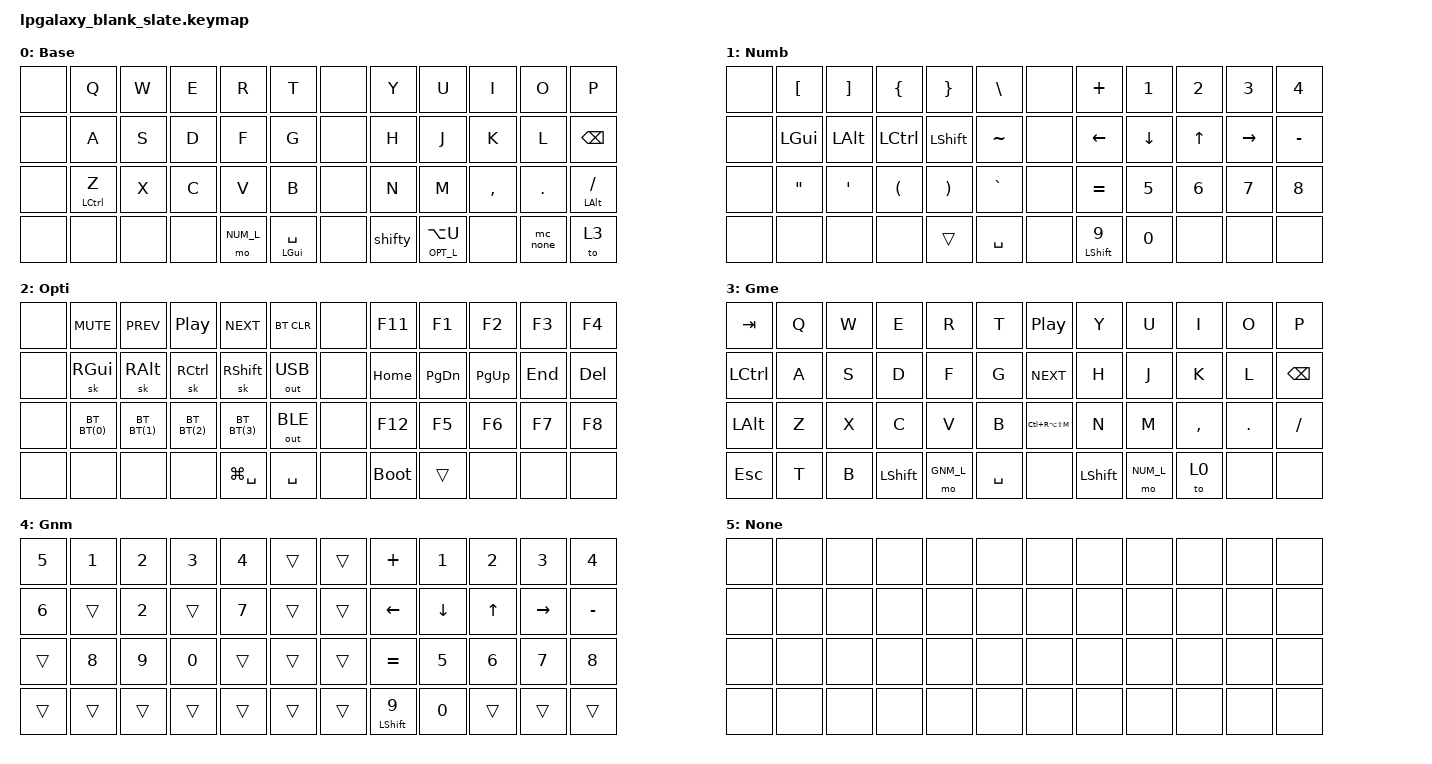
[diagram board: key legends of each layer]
/*
 * Copyright (c) 2023 Marcel Keßler
 *
 * SPDX-License-Identifier: MIT
 */

#include <behaviors.dtsi>
#include <dt-bindings/zmk/keys.h>
#include <dt-bindings/zmk/bt.h>
#include <dt-bindings/zmk/backlight.h>
#include <dt-bindings/zmk/outputs.h>
#include "mouse.dtsi"

#define QWERTY_BASE 1
#define TBLE_ORTHO 1

#define NUM_L 1
#define OPT_L 2
#define GME_L 3
#define GNM_L 4

&lt { quick_tap_ms = <100>; tapping-term-ms = <150>; };

&caps_word {
    continue-list = <UNDERSCORE MINUS SPACE>;
};

#define BT(n) BT_SEL n

/ {
    chosen {
        zmk,matrix_transform = &ortho_transform;
    };

    behaviors {
        ltp: layer_tap_preferred {
            compatible = "zmk,behavior-hold-tap";
            label = "LAYER_TAP_PREFERRED";
            #binding-cells = <2>;
            tapping-term-ms = <200>;
            quick-tap-ms = <0>;
            flavor = "tap-preferred";
            bindings = <&mo>, <&kp>;
        };
        mtp: mod_tap_preferred {
            compatible = "zmk,behavior-hold-tap";
            label = "MOD_TAP_PREFERRED";
            #binding-cells = <2>;
            tapping-term-ms = <200>;
            quick-tap-ms = <0>;
            flavor = "tap-preferred";
            bindings = <&kp>, <&kp>;
        };
        bht: balanced_hold_tap {
            compatible = "zmk,behavior-hold-tap";
            label = "BALANCED_HOLD_TAP";
            #binding-cells = <2>;
            tapping-term-ms = <150>;
            quick-tap-ms = <0>;
            bindings = <&mo>, <&kp>;
        };
    };

    macros {
        mc_alfred: mc_alfred {
            label = "mc_alfred";
            compatible = "zmk,behavior-macro";
            #binding-cells = <0>;
            bindings
                = <&macro_press &kp LGUI>
                , <&macro_tap &kp SPACE>
                , <&macro_release &kp LGUI>
            ;
        };
        mc_pass: mc_pass {
            label = "mc_pass";
            compatible = "zmk,behavior-macro";
            #binding-cells = <0>;
            bindings
                = <&macro_press &kp LGUI>
                , <&macro_press &kp LSHIFT>
                , <&macro_tap &kp SPACE>
                , <&macro_release &kp LGUI>
                , <&macro_release &kp LSHIFT>
            ;
        };
        mc_emoji: mc_emoji {
            label = "mc_emoji";
            compatible = "zmk,behavior-macro";
            #binding-cells = <0>;
            bindings
                = <&macro_press &kp LGUI>
                , <&macro_press &kp LCTRL>
                , <&macro_tap &kp SPACE>
                , <&macro_release &kp LGUI>
                , <&macro_release &kp LCTRL>
            ;
        };
        mc_quote: mc_quote {
            label = "mc_quote";
            compatible = "zmk,behavior-macro";
            #binding-cells = <0>;
            bindings
                = <&macro_tap &kp QUOT>
                , <&macro_tap &kp SPACE>
            ;
        };
        mc_dqt: mc_dqt {
            label = "mc_dqt";
            compatible = "zmk,behavior-macro";
            #binding-cells = <0>;
            bindings
                = <&macro_press &kp LSHIFT>
                , <&macro_tap &kp QUOT>
                , <&macro_release &kp LSHIFT>
                , <&macro_tap &kp SPACE>
            ;
        };
        mc_grave: mc_grave {
            label = "mc_grave";
            compatible = "zmk,behavior-macro";
            #binding-cells = <0>;
            bindings
                = <&macro_tap &kp GRAVE>
                , <&macro_tap &kp SPACE>
            ;
        };
        mc_tilde: mc_tilde {
            label = "mc_tilde";
            compatible = "zmk,behavior-macro";
            #binding-cells = <0>;
            bindings
                = <&macro_press &kp LSHIFT>
                , <&macro_tap &kp GRAVE>
                , <&macro_release &kp LSHIFT>
                , <&macro_tap &kp SPACE>
            ;
        };
        mc_ss: mc_ss {
            label = "mc_ss";
            compatible = "zmk,behavior-macro";
            #binding-cells = <0>;
            bindings
                = <&macro_press &kp RALT>
                , <&macro_tap &kp S>
                , <&macro_release &kp RALT>
            ;
        };
        mc_none: mc_none {
            label = "mc_none";
            compatible = "zmk,behavior-macro";
            #binding-cells = <0>;
            bindings
                = <&to 5>
                , <&bl BL_OFF>
            ;
        };
        mc_base: mc_base {
            label = "mc_base";
            compatible = "zmk,behavior-macro";
            #binding-cells = <0>;
            bindings
                = <&to 0>
                , <&bl BL_ON>
            ;
        };
    };

    combos {
           compatible = "zmk,combos";
           combo_esc {
                timeout-ms = <35>;
                key-positions = <15 16>;
                bindings = <&kp ESC>;
                layers = <0 1 2>;
           };
           combo_ret {
                timeout-ms = <35>;
                key-positions = <20 21>;
                bindings = <&kp RET>;
                layers = <0 1 2 3 4>;
           };
           combo_alfred {
                timeout-ms = <35>;
                key-positions = <13 39>;
                bindings = <&mc_alfred>;
                layers = <0>;
           };
           combo_pass {
                timeout-ms = <35>;
                key-positions = <13 16>;
                bindings = <&mc_pass>;
                layers = <0>;
           };
           combo_emoji {
                timeout-ms = <35>;
                key-positions = <13 15>;
                bindings = <&mc_emoji>;
                layers = <0>;
           };
           combo_base {
                timeout-ms = <35>;
                key-positions = <0 11>;
                bindings = <&mc_base>;
                layers = <6>;
                require-prior-idle-ms = <300>;
            };
            combo_tab {
                timeout-ms = <35>;
                key-positions = <27 28>;
                bindings = <&kp TAB>;
                layers = <0>;
            };
            combo_shift_tab {
                timeout-ms = <35>;
                key-positions = <26 27>;
                bindings = <&kp LA(TAB)>;
                layers = <0>;
            };
            combo_colon {
                timeout-ms = <35>;
                key-positions = <32 33>;
                bindings = <&kp COLON>;
                layers = <0 1 2>;
            };
            combo_semi {
                timeout-ms = <35>;
                key-positions = <33 34>;
                bindings = <&kp SEMI>;
                layers = <0 1 2>;
            };
    };
    
    tap_dances {
        shifty: shift_caps_word {
        compatible = "zmk,behavior-tap-dance";
        label = "TD_SHIFTY";
        #binding-cells = <0>;
        tapping-term-ms = <150>;
        bindings = <&kp LSHFT>, <&caps_word>;
        };
    };

    keymap {
        compatible = "zmk,keymap";

        base_layer {
            label = "Base";
            bindings = <
            &none      &kp Q          &kp W      &kp E       &kp R          &kp T             &none          &kp Y            &kp U             &kp I       &kp O      &kp P
            &none      &kp A          &kp S      &kp D       &kp F          &kp G             &none          &kp H            &kp J             &kp K       &kp L      &kp BKSP
            &none      &mtp LCTRL Z   &kp X      &kp C       &kp V          &kp B             &none          &kp N            &kp M             &kp COMMA   &kp DOT    &mtp LALT FSLH
            &none      &none          &none      &none       &mo NUM_L      &mtp LGUI SPACE   &none          &shifty          &ltp OPT_L LA(U)  &none       &mc_none   &to 3
            >;
        };

        num_layer {
            label = "Numb";
            bindings = <
            &none   &kp LBKT         &kp RBKT     &kp LBRC     &kp RBRC    &kp BSLH    &none        &kp PLUS       &kp N1         &kp N2       &kp N3       &kp N4
            &none   &kp LGUI         &kp LALT     &kp LCTRL    &kp LSHIFT  &kp TILDE   &none        &kp LEFT       &kp DOWN       &kp UP       &kp RIGHT    &kp MINUS
            &none   &kp DQT          &kp SQT      &kp LPAR     &kp RPAR    &kp GRAVE   &none        &kp EQUAL      &kp N5         &kp N6       &kp N7       &kp N8
            &none   &none            &none        &none        &trans      &kp SPACE   &none        &mt LSHIFT N9  &kp N0         &none        &none        &none
            >;
        };

        opt_layer {
            label = "Opti";
            bindings = <
            &none    &kp C_MUTE &kp C_PREV &kp C_PP   &kp C_NEXT  &bt BT_CLR          &none    &kp F11        &kp F1       &kp F2       &kp F3     &kp F4
            &none    &sk RGUI   &sk RALT   &sk RCTRL  &sk RSHIFT  &out OUT_USB        &none    &kp HOME       &kp PG_DN    &kp PG_UP    &kp END    &kp DELETE
            &none    &bt BT(0)  &bt BT(1)  &bt BT(2)  &bt BT(3)   &out OUT_BLE        &none    &kp F12        &kp F5       &kp F6       &kp F7     &kp F8
            &none    &none      &none      &none      &kp LG(SPC) &kp SPACE           &none    &bootloader    &trans       &none        &none      &none
            >;
        };

        gme_layer {
            label = "Gme";
            bindings = <
            &kp TAB    &kp Q      &kp W      &kp E       &kp R          &kp T          &kp C_PP          &kp Y            &kp U          &kp I       &kp O      &kp P
            &kp LCTRL  &kp A      &kp S      &kp D       &kp F          &kp G          &kp C_NEXT        &kp H            &kp J          &kp K       &kp L      &kp BKSP
            &kp LALT   &kp Z      &kp X      &kp C       &kp V          &kp B          &kp LC(RA(LS(M))) &kp N            &kp M          &kp COMMA   &kp DOT    &kp FSLH
            &kp ESC    &kp T      &kp B      &kp LSHIFT  &mo GNM_L      &kp SPACE      &none             &kp LSHIFT       &mo NUM_L      &to 0       &none      &none
            >;
        };

        gnm_layer {
            label = "Gnm";
            bindings = <
            &kp N5     &kp N1     &kp N2     &kp N3      &kp N4          &trans       &trans     &kp PLUS       &kp N1         &kp N2       &kp N3     &kp N4
            &kp N6     &trans     &kp N2     &trans      &kp N7          &trans       &trans     &kp LEFT       &kp DOWN       &kp UP       &kp RIGHT  &kp MINUS
            &trans     &kp N8     &kp N9     &kp N0      &trans          &trans       &trans     &kp EQUAL      &kp N5         &kp N6       &kp N7     &kp N8
            &trans     &trans     &trans     &trans      &trans          &trans       &trans     &mt LSHIFT N9  &kp N0         &trans       &trans     &trans
            >;
        };

        none_layer {
            label = "None";
            bindings = <
            &none  &none  &none  &none  &none  &none  &none  &none  &none  &none  &none  &none
            &none  &none  &none  &none  &none  &none  &none  &none  &none  &none  &none  &none
            &none  &none  &none  &none  &none  &none  &none  &none  &none  &none  &none  &none
            &none  &none  &none  &none  &none  &none  &none  &none  &none  &none  &none  &none
            >;
        };
    };
};

